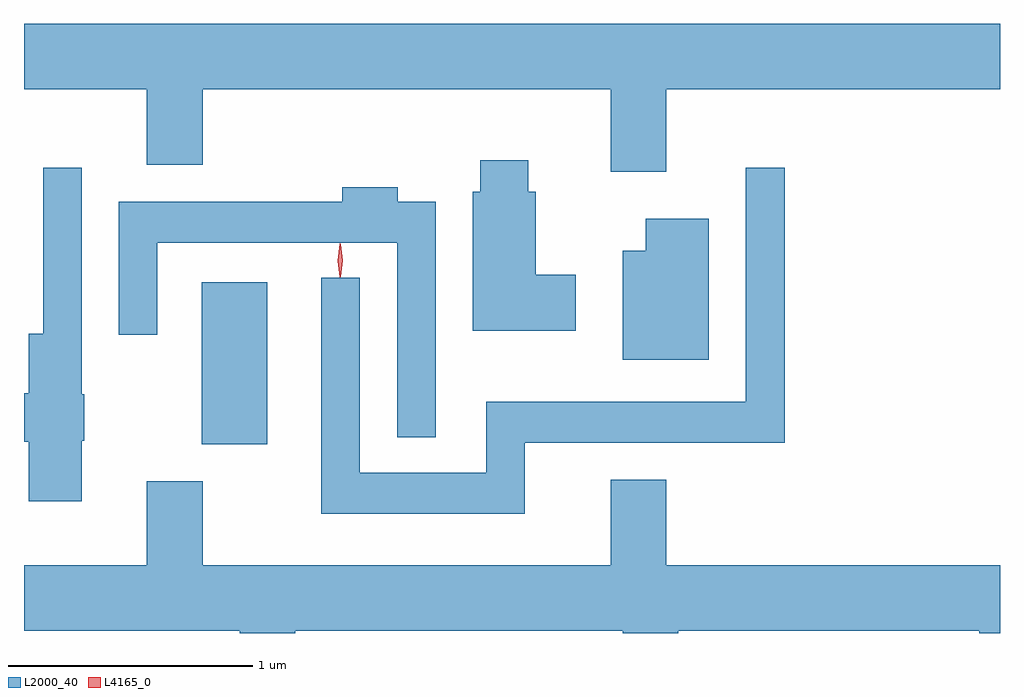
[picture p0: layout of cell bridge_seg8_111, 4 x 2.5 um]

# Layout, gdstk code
import gdstk
lib = gdstk.Library(unit=1e-6, precision=1e-09)
def R(c, l, rs):  # rectangles x0, y0, x1, y1
    for r in rs: c.add(gdstk.rectangle(r[:2], r[2:], *l))
def P(c, l, *ps):  # polygons
    for p in ps: c.add(gdstk.Polygon(p, *l))
L2000_40 = (2000, 40)
L4165_0 = (4165, 0)

bridge_seg8_111 = lib.new_cell('bridge_seg8_111')
R(bridge_seg8_111, L2000_40, [(1502.496,1817.201,1502.764,1817.864)])
P(bridge_seg8_111, L2000_40, [(1501.767,1818.656),(1502.271,1818.656),(1502.271,1818.346),(1502.499,1818.346),(1502.499,1818.656),(1504.171,1818.656),(1504.171,1818.316),(1504.399,1818.316),(1504.399,1818.656),(1505.767,1818.656),(1505.767,1818.924),(1501.767,1818.924)],
  [(1504.029,1817.894),(1503.864,1817.894),(1503.864,1818.234),(1503.834,1818.234),(1503.834,1818.364),(1503.636,1818.364),(1503.636,1818.234),(1503.606,1818.234),(1503.606,1817.666),(1504.029,1817.666)],
  [(1502.004,1817.215),(1502.014,1817.215),(1502.014,1817.405),(1502.004,1817.405),(1502.004,1818.333),(1501.846,1818.333),(1501.846,1817.654),(1501.786,1817.654),(1501.786,1817.409),(1501.767,1817.409),(1501.767,1817.211),(1501.786,1817.211),(1501.786,1816.966),(1502.004,1816.966)],
  [(1503.819,1817.206),(1504.884,1817.206),(1504.884,1818.333),(1504.726,1818.333),(1504.726,1817.374),(1503.661,1817.374),(1503.661,1817.084),(1503.144,1817.084),(1503.144,1817.883),(1502.986,1817.883),(1502.986,1816.916),(1503.819,1816.916)],
  [(1503.454,1818.194),(1503.299,1818.194),(1503.299,1818.254),(1503.071,1818.254),(1503.071,1818.194),(1502.156,1818.194),(1502.156,1817.648),(1502.314,1817.648),(1502.314,1818.026),(1503.296,1818.026),(1503.296,1817.228),(1503.454,1817.228)],
  [(1504.574,1818.124),(1504.316,1818.124),(1504.316,1817.994),(1504.221,1817.994),(1504.221,1817.546),(1504.574,1817.546)],
  [(1502.879,1816.436),(1504.221,1816.436),(1504.221,1816.425),(1504.449,1816.425),(1504.449,1816.436),(1505.681,1816.436),(1505.681,1816.425),(1505.767,1816.425),(1505.767,1816.704),(1504.399,1816.704),(1504.399,1817.054),(1504.171,1817.054),(1504.171,1816.704),(1502.499,1816.704),(1502.499,1817.049),(1502.271,1817.049),(1502.271,1816.704),(1501.767,1816.704),(1501.767,1816.436),(1502.651,1816.436),(1502.651,1816.425),(1502.879,1816.425)])
P(bridge_seg8_111, L4165_0, [(1503.064,1817.887),(1503.064,1817.887),(1503.054,1817.954),(1503.064,1818.02),(1503.064,1818.02),(1503.065,1818.02),(1503.074,1817.954),(1503.065,1817.887)],
  [(1503.062,1817.884),(1503.053,1817.953),(1503.062,1818.022),(1503.063,1818.023),(1503.063,1818.022),(1503.073,1817.953),(1503.063,1817.884),(1503.063,1817.884)])

lib.write_gds('bridge_seg8_111.gds')
